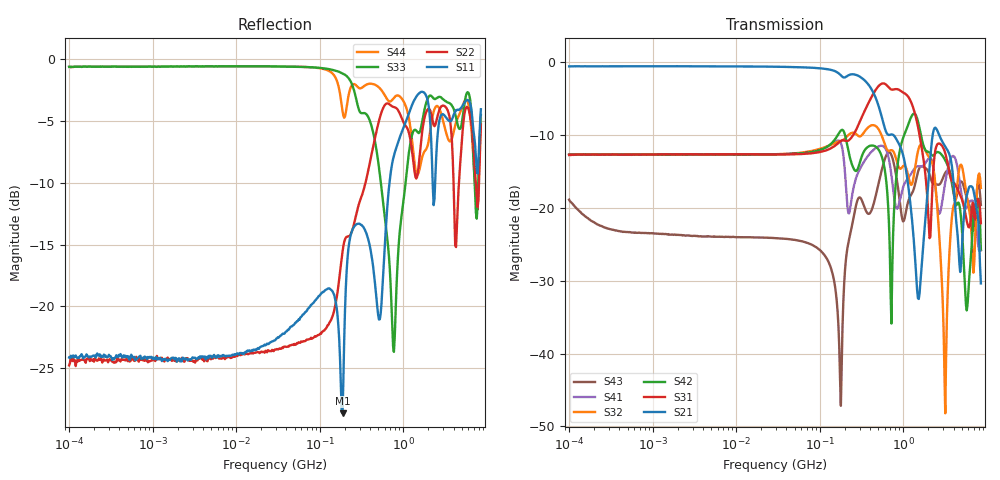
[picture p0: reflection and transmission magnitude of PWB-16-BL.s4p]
# MHz S MA R 50
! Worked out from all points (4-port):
!   498 points, 100 kHz to 8.5 GHz, reference 50 ohm
!   strongest paths, dB at 100 kHz, 1.698 MHz, 29.49 MHz, 500.7 MHz, 8.5 GHz:
!     S21: -0.6, -0.6, -0.6, -5.8, -30.4
!     S31: -12.7, -12.7, -12.7, -3.4, -22.1
!     S42: -12.7, -12.7, -12.7, -11.9, -25.7
!     S32: -12.7, -12.7, -12.7, -9.1, -17.3
!     S41: -12.8, -12.7, -12.7, -11.6, -25.9
!     S43: -18.9, -23.7, -24.2, -16.9, -19.6
!   lowest |S11| = -28.6 dB at 187.5 MHz (marker M1), VSWR 1.08, Z = 52.5 + j2.87 ohm
!   |S11| at or under -10 dB: start of sweep to 685 MHz; 2.251 GHz to 2.409 GHz (157.9 MHz wide, 6.78 % of centre)
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0.1  0.06221 4.3  0.9339 -0.3  0.2308 5.7  0.2302 -174.3
     0.9339 -0.3  0.05784 9.8  0.2307 -174.7  0.2315 5.3
     0.2308 5.7  0.2307 -174.7  0.9282 5.1  0.1136 -50.4
     0.2302 -174.3  0.2315 5.3  0.1136 -50.4  0.9278 5.2
187.5231  0.03704 47.4  0.7913 -46.1  0.29 5.7  0.2507 64.2
          0.7913 -46.1  0.1661 62.9  0.291 82.7  0.3426 -29.1
          0.29 5.7  0.291 82.7  0.8723 -45.9  0.01538 59.0
          0.2507 64.2  0.3426 -29.1  0.01538 59.0  0.6156 -35.5
721.5017  0.3621 13.5  0.3188 -137.9  0.6476 -77.7  0.1679 -57.2
          0.3188 -137.9  0.6453 -43.8  0.2486 -67.5  0.01606 -44.8
          0.6476 -77.7  0.2486 -67.5  0.1029 169.0  0.2302 -15.9
          0.1679 -57.2  0.01606 -44.8  0.2302 -15.9  0.6766 -84.7
1533.002  0.723 -119.0  0.02367 1.3  0.3378 150.0  0.1927 -115.1
          0.02367 1.3  0.3728 -120.6  0.256 -142.6  0.3728 -159.7
          0.3378 150.0  0.256 -142.6  0.5009 -112.7  0.1829 -90.6
          0.1927 -115.1  0.3728 -159.7  0.1829 -90.6  0.3481 -143.6
2159.325  0.4709 173.0  0.2577 -123.1  0.08728 174.8  0.2172 160.3
          0.2577 -123.1  0.6001 -166.3  0.2127 105.1  0.2321 144.4
          0.08728 174.8  0.2127 105.1  0.7092 -153.2  0.1552 -176.9
          0.2172 160.3  0.2321 144.4  0.1552 -176.9  0.5417 -148.9
3183.684  0.5848 137.4  0.2629 57.1  0.2365 30.3  0.1498 98.8
          0.2629 57.1  0.6412 120.3  0.003888 -127.3  0.2117 34.5
          0.2365 30.3  0.003888 -127.3  0.6751 117.9  0.1737 97.6
          0.1498 98.8  0.2117 34.5  0.1737 97.6  0.5189 111.1
8500  0.6256 -35.0  0.03026 -92.4  0.07839 -130.4  0.05095 -67.4
      0.03026 -92.4  0.5426 -43.1  0.1368 -78.5  0.05172 -132.5
      0.07839 -130.4  0.1368 -78.5  0.5934 -45.8  0.1045 -42.9
      0.05095 -67.4  0.05172 -132.5  0.1045 -42.9  0.572 -39.5
